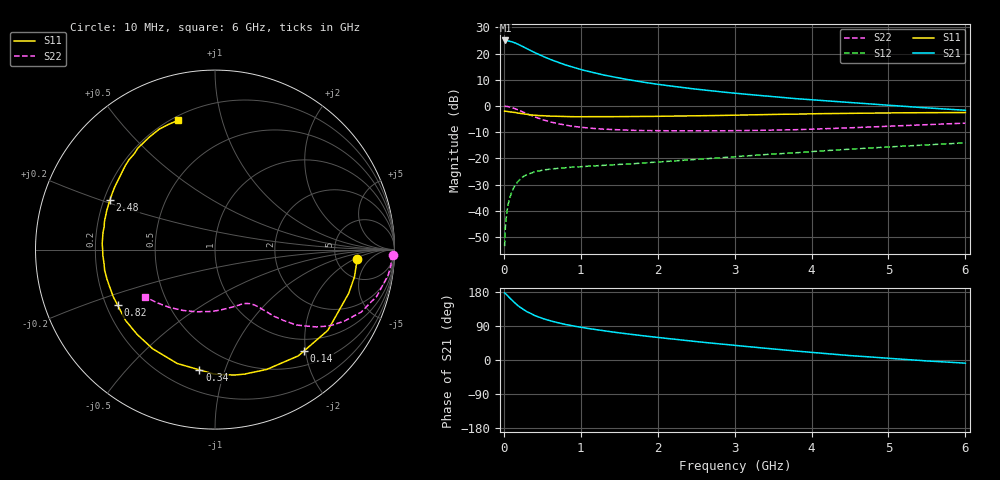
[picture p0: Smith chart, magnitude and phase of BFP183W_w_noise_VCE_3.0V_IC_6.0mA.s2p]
! Infineon Technologies  Discrete & RF Semiconductors
! BFP183W
! VCE = 3.0 V,  IC =  6.0 mA
! Common Emitter S-Parameters:  Jan 2016
# GHz  S  MA  R  50
!  f  S11  S21  S12  S22
! GHz  MAG  ANG  MAG  ANG  MAG  ANG  MAG  ANG
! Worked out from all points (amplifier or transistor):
!   210 points, 10 MHz to 6 GHz, reference 50 ohm
!   highest |S21| = 25.0 dB at 20 MHz (marker M1)
!   |S21| within 3 dB of that: start of sweep to 290.2 MHz
!   unconditionally stable (mu >= 1): 1.656 GHz to 5.701 GHz
!   at 185 MHz: K = 0.16, MSG = 26.2 dB, |S12| = -28.8 dB
!   at 1.52 GHz: K = 0.95, MSG = 16.4 dB, |S12| = -22.3 dB
!   at 6 GHz: K = 0.98, MSG = 6.2 dB, |S12| = -14.1 dB
!   lowest NFmin = 1.20 dB at 450 MHz
!   S11 on the Smith chart (normalised r, x): 10 MHz: 8.05, -2.29; 140 MHz: 0.76, -1.98; 340 MHz: 0.33, -0.82; 820 MHz: 0.25, -0.25; 2.48 GHz: 0.22, +0.21; 6 GHz: 0.22, +0.73
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0.01  0.7941 -3.8  17.77 177.0  0.0021 88.0  0.9902 -1.7
0.02  0.7916 -7.4  17.83 175.7  0.0048 88.3  0.9823 -3.4
0.05  0.7836 -18.2  17.62 169.1  0.0119 79.9  0.975 -8.4
0.1  0.773 -35.6  16.9 158.9  0.0222 72.3  0.9382 -16.1
0.14  0.7515 -48.6  16.1 151.2  0.0294 65.6  0.8949 -21.7
0.15  0.7523 -51.9  15.95 149.2  0.0313 64.4  0.8855 -23.2
0.2  0.7272 -66.6  14.73 140.8  0.0384 58.1  0.8247 -28.8
0.24  0.713 -76.6  13.79 135.3  0.0433 53.7  0.7782 -32.7
0.3  0.6936 -90.4  12.4 127.4  0.0489 48.4  0.7093 -37.4
0.34  0.6756 -97.4  11.6 123.8  0.0513 45.6  0.6722 -39.4
0.4  0.6685 -108.3  10.49 117.4  0.0552 41.9  0.6183 -42.8
0.5  0.6525 -122.2  8.957 109.6  0.0595 37.9  0.5489 -46.0
0.6  0.6414 -132.7  7.766 103.4  0.0624 35.2  0.4975 -48.4
0.82  0.6253 -150.2  5.96 93.1  0.0665 32.5  0.426 -51.5
1.02  0.6227 -161.0  4.878 85.8  0.0694 31.8  0.3896 -53.7
1.48  0.6256 -179.1  3.454 72.2  0.076 33.2  0.35 -59.0
2.02  0.6356 165.4  2.571 59.2  0.0854 36.2  0.3365 -66.5
2.48  0.6472 154.9  2.111 49.2  0.0946 38.3  0.3343 -74.4
3.1  0.6689 142.4  1.699 36.8  0.1098 40.1  0.3384 -86.2
4.1  0.7124 125.9  1.281 18.6  0.1376 39.8  0.364 -108.5
5.1  0.7402 113.9  1.004 3.1  0.168 37.1  0.4158 -130.5
6  0.7489 106.0  0.827 -8.4  0.1976 33.7  0.47 -145.9
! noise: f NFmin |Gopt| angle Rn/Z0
0.45  1.2  0.21  41  0.24
0.9  1.25  0.24  101  0.21
1.8  2  0.32  175  0.14
